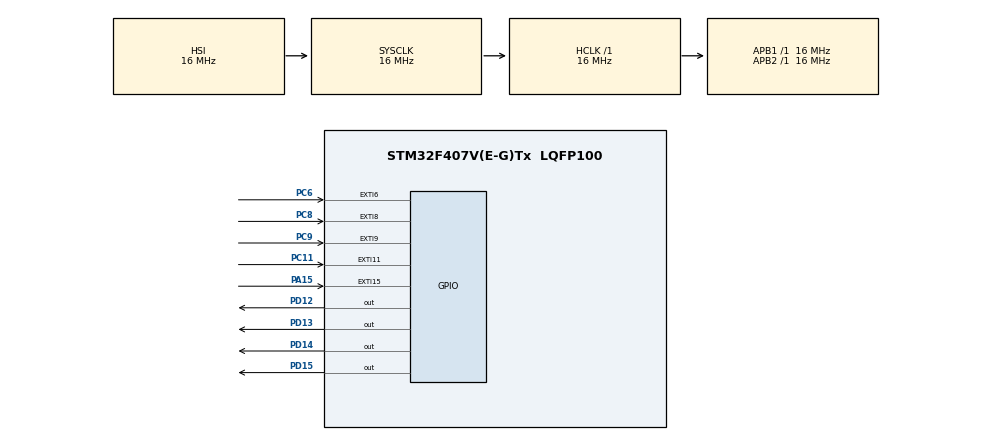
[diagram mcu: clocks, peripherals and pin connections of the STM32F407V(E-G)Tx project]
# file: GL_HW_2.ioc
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Mcu.Family=STM32F4
Mcu.Name=STM32F407V(E-G)Tx
Mcu.Package=LQFP100
NVIC.EXTI15_10_IRQn=true\:0\:0\:false\:false\:true\:true\:true\:true
NVIC.EXTI9_5_IRQn=true\:0\:0\:false\:false\:true\:true\:true\:true
NVIC.PriorityGroup=NVIC_PRIORITYGROUP_4
PA15.Signal=GPXTI15
PC11.Signal=GPXTI11
PC6.Signal=GPXTI6
PC8.Signal=GPXTI8
PC9.Signal=GPXTI9
PD12.Signal=GPIO_Output
PD13.Signal=GPIO_Output
PD14.Signal=GPIO_Output
PD15.Signal=GPIO_Output
ProjectManager.HeapSize=0x200
ProjectManager.StackSize=0x400
ProjectManager.TargetToolchain=STM32CubeIDE
RCC.AHBFreq_Value=16000000
RCC.APB1Freq_Value=16000000
RCC.APB2Freq_Value=16000000
RCC.CortexFreq_Value=16000000
RCC.HSE_VALUE=25000000
RCC.HSI_VALUE=16000000
RCC.LSE_VALUE=32768
RCC.SYSCLKFreq_VALUE=16000000
RCC.VCOOutputFreq_Value=192000000
board=custom

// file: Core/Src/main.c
/* USER CODE BEGIN Header */
/**
  ******************************************************************************
  * @file           : main.c
  * @brief          : Main program body
  ******************************************************************************
  * @attention
  *
  * Copyright (c) 2023 STMicroelectronics.
  * All rights reserved.
  *
  * This software is licensed under terms that can be found in the LICENSE file
  * in the root directory of this software component.
  * If no LICENSE file comes with this software, it is provided AS-IS.
  *
  ******************************************************************************
  */
/* USER CODE END Header */
#include "main.h"

/* USER CODE BEGIN PTD */
typedef enum effect
{
	EFFECT_1 = 0,
	EFFECT_2,
	EFFECT_3
} effect;

/* USER CODE END PTD */

/* USER CODE BEGIN PV */
uint32_t isRun = 1;
uint32_t effectSpeed = 300;
effect currentEffect = EFFECT_1;
/* USER CODE END PV */

void SystemClock_Config(void);
static void MX_GPIO_Init(void);
/* USER CODE BEGIN PFP */
void LED_BlinkingEffect_1(void);
void LED_BlinkingEffect_2(void);
void LED_BlinkingEffect_3(void);

void HAL_GPIO_EXTI_Callback(uint16_t GPIO_Pin);
//void LED_BlinkingScheme_1(void);
/* USER CODE END PFP */

int main(void)
{

  /* MCU Configuration--------------------------------------------------------*/

  /* Reset of all peripherals, Initializes the Flash interface and the Systick. */
  HAL_Init();

  /* Configure the system clock */
  SystemClock_Config();

  /* Initialize all configured peripherals */
  MX_GPIO_Init();

  /* Infinite loop */
  /* USER CODE BEGIN WHILE */
  while (1)
  {
	  if (isRun == 1)
	  {
		  switch (currentEffect)
		  {
		      case EFFECT_1:
		    	  LED_BlinkingEffect_1();
		    	  break;

		      case EFFECT_2:
		    	  LED_BlinkingEffect_2();
		    	  break;

		      case EFFECT_3:
		    	  LED_BlinkingEffect_3();
		      	  break;

		      default:
		    	  LED_BlinkingEffect_1();
		  }
	  }
    /* USER CODE END WHILE */

  }
}

void SystemClock_Config(void)
{
  RCC_OscInitTypeDef RCC_OscInitStruct = {0};
  RCC_ClkInitTypeDef RCC_ClkInitStruct = {0};

  /** Configure the main internal regulator output voltage
  */
  __HAL_RCC_PWR_CLK_ENABLE();
  __HAL_PWR_VOLTAGESCALING_CONFIG(PWR_REGULATOR_VOLTAGE_SCALE1);

  /** Initializes the RCC Oscillators according to the specified parameters
  * in the RCC_OscInitTypeDef structure.
  */
  RCC_OscInitStruct.OscillatorType = RCC_OSCILLATORTYPE_HSI;
  RCC_OscInitStruct.HSIState = RCC_HSI_ON;
  RCC_OscInitStruct.HSICalibrationValue = RCC_HSICALIBRATION_DEFAULT;
  RCC_OscInitStruct.PLL.PLLState = RCC_PLL_NONE;
  if (HAL_RCC_OscConfig(&RCC_OscInitStruct) != HAL_OK)
  {
    Error_Handler();
  }

  /** Initializes the CPU, AHB and APB buses clocks
  */
  RCC_ClkInitStruct.ClockType = RCC_CLOCKTYPE_HCLK|RCC_CLOCKTYPE_SYSCLK
                              |RCC_CLOCKTYPE_PCLK1|RCC_CLOCKTYPE_PCLK2;
  RCC_ClkInitStruct.SYSCLKSource = RCC_SYSCLKSOURCE_HSI;
  RCC_ClkInitStruct.AHBCLKDivider = RCC_SYSCLK_DIV1;
  RCC_ClkInitStruct.APB1CLKDivider = RCC_HCLK_DIV1;
  RCC_ClkInitStruct.APB2CLKDivider = RCC_HCLK_DIV1;

  if (HAL_RCC_ClockConfig(&RCC_ClkInitStruct, FLASH_LATENCY_0) != HAL_OK)
  {
    Error_Handler();
  }
}

static void MX_GPIO_Init(void)
{
  GPIO_InitTypeDef GPIO_InitStruct = {0};

  /* GPIO Ports Clock Enable */
  __HAL_RCC_GPIOD_CLK_ENABLE();
  __HAL_RCC_GPIOC_CLK_ENABLE();
  __HAL_RCC_GPIOA_CLK_ENABLE();

  /*Configure GPIO pin Output Level */
  HAL_GPIO_WritePin(GPIOD, GPIO_PIN_12|GPIO_PIN_13|GPIO_PIN_14|GPIO_PIN_15, GPIO_PIN_RESET);

  /*Configure GPIO pins : PD12 PD13 PD14 PD15 */
  GPIO_InitStruct.Pin = GPIO_PIN_12|GPIO_PIN_13|GPIO_PIN_14|GPIO_PIN_15;
  GPIO_InitStruct.Mode = GPIO_MODE_OUTPUT_PP;
  GPIO_InitStruct.Pull = GPIO_NOPULL;
  GPIO_InitStruct.Speed = GPIO_SPEED_FREQ_LOW;
  HAL_GPIO_Init(GPIOD, &GPIO_InitStruct);

  /*Configure GPIO pins : PC6 PC8 PC9 PC11 */
  GPIO_InitStruct.Pin = GPIO_PIN_6|GPIO_PIN_8|GPIO_PIN_9|GPIO_PIN_11;
  GPIO_InitStruct.Mode = GPIO_MODE_IT_RISING;
  GPIO_InitStruct.Pull = GPIO_NOPULL;
  HAL_GPIO_Init(GPIOC, &GPIO_InitStruct);

  /*Configure GPIO pin : PA15 */
  GPIO_InitStruct.Pin = GPIO_PIN_15;
  GPIO_InitStruct.Mode = GPIO_MODE_IT_RISING;
  GPIO_InitStruct.Pull = GPIO_NOPULL;
  HAL_GPIO_Init(GPIOA, &GPIO_InitStruct);

  /* EXTI interrupt init*/
  HAL_NVIC_SetPriority(EXTI9_5_IRQn, 0, 0);
  HAL_NVIC_EnableIRQ(EXTI9_5_IRQn);

  HAL_NVIC_SetPriority(EXTI15_10_IRQn, 0, 0);
  HAL_NVIC_EnableIRQ(EXTI15_10_IRQn);

}

/* USER CODE BEGIN 4 */
void LED_BlinkingEffect_1(void)
{
	HAL_GPIO_WritePin(GPIOD, GPIO_PIN_12, GPIO_PIN_SET);
	HAL_Delay(effectSpeed);
	HAL_GPIO_WritePin(GPIOD, GPIO_PIN_12, GPIO_PIN_RESET);

	HAL_GPIO_WritePin(GPIOD, GPIO_PIN_13, GPIO_PIN_SET);
	HAL_Delay(effectSpeed);
	HAL_GPIO_WritePin(GPIOD, GPIO_PIN_13, GPIO_PIN_RESET);

	HAL_GPIO_WritePin(GPIOD, GPIO_PIN_14, GPIO_PIN_SET);
	HAL_Delay(effectSpeed);
	HAL_GPIO_WritePin(GPIOD, GPIO_PIN_14, GPIO_PIN_RESET);

	HAL_GPIO_WritePin(GPIOD, GPIO_PIN_15, GPIO_PIN_SET);
	HAL_Delay(effectSpeed);
	HAL_GPIO_WritePin(GPIOD, GPIO_PIN_15, GPIO_PIN_RESET);
}

void LED_BlinkingEffect_2(void)
{
	HAL_Delay(effectSpeed);

	HAL_GPIO_WritePin(GPIOD, GPIO_PIN_12, GPIO_PIN_SET);
	HAL_GPIO_WritePin(GPIOD, GPIO_PIN_13, GPIO_PIN_SET);
	HAL_GPIO_WritePin(GPIOD, GPIO_PIN_14, GPIO_PIN_SET);
	HAL_GPIO_WritePin(GPIOD, GPIO_PIN_15, GPIO_PIN_SET);

	HAL_Delay(effectSpeed);

	HAL_GPIO_WritePin(GPIOD, GPIO_PIN_12, GPIO_PIN_RESET);
	HAL_GPIO_WritePin(GPIOD, GPIO_PIN_13, GPIO_PIN_RESET);
	HAL_GPIO_WritePin(GPIOD, GPIO_PIN_14, GPIO_PIN_RESET);
	HAL_GPIO_WritePin(GPIOD, GPIO_PIN_15, GPIO_PIN_RESET);
}

void LED_BlinkingEffect_3(void)
{
	HAL_GPIO_WritePin(GPIOD, GPIO_PIN_12, GPIO_PIN_SET);
	HAL_GPIO_WritePin(GPIOD, GPIO_PIN_14, GPIO_PIN_SET);
	HAL_Delay(effectSpeed);
	HAL_GPIO_WritePin(GPIOD, GPIO_PIN_12, GPIO_PIN_RESET);
	HAL_GPIO_WritePin(GPIOD, GPIO_PIN_14, GPIO_PIN_RESET);

	HAL_GPIO_WritePin(GPIOD, GPIO_PIN_13, GPIO_PIN_SET);
	HAL_GPIO_WritePin(GPIOD, GPIO_PIN_15, GPIO_PIN_SET);
	HAL_Delay(effectSpeed);
	HAL_GPIO_WritePin(GPIOD, GPIO_PIN_13, GPIO_PIN_RESET);
	HAL_GPIO_WritePin(GPIOD, GPIO_PIN_15, GPIO_PIN_RESET);
}

void HAL_GPIO_EXTI_Callback(uint16_t GPIO_Pin)
{
	if (GPIO_Pin == GPIO_PIN_6)
	{
        if(currentEffect < EFFECT_3)
        {
        	++currentEffect;
        }
        else
        {
        	currentEffect = EFFECT_1;
        }
	}

	if (GPIO_Pin == GPIO_PIN_8)
	{
        if(currentEffect > EFFECT_1)
        {
        	--currentEffect;
        }
        else
        {
        	currentEffect = EFFECT_3;
        }
	}

	if (GPIO_Pin == GPIO_PIN_9)
	{
		if(effectSpeed < 500)
		{
			effectSpeed += 100;
		}
		else
		{
			effectSpeed = 100;
		}
	}

	if (GPIO_Pin == GPIO_PIN_11)
	{
		if(effectSpeed > 100)
		{
			effectSpeed -= 100;
		}
		else
		{
			effectSpeed = 500;
		}
	}

	if (GPIO_Pin == GPIO_PIN_15)
	{
		isRun = !isRun;
	}
}
/* USER CODE END 4 */

void Error_Handler(void)
{
  __disable_irq();
  while (1)
  {
  }
}
